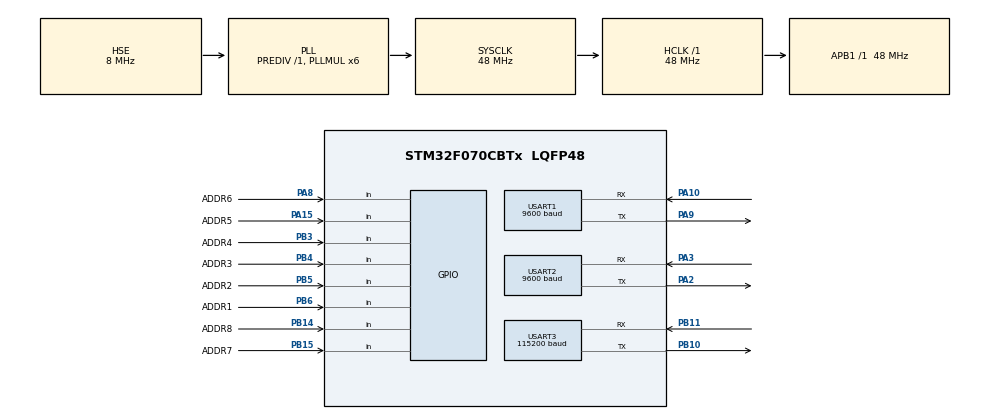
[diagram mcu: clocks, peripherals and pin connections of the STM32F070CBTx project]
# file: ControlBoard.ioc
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IWDG.Prescaler=IWDG_PRESCALER_64
IWDG.Reload=625
Mcu.Family=STM32F0
Mcu.Name=STM32F070CBTx
Mcu.Package=LQFP48
NVIC.USART1_IRQn=true\:0\:0\:false\:false\:true\:true\:true\:true
NVIC.USART2_IRQn=true\:1\:0\:true\:false\:true\:true\:true\:true
NVIC.USART3_4_IRQn=true\:0\:0\:false\:false\:true\:true\:true\:true
PA10.Mode=Asynchronous
PA10.Signal=USART1_RX
PA15.GPIO_Label=ADDR5
PA15.GPIO_Mode=GPIO_MODE_INPUT
PA15.GPIO_PuPd=GPIO_PULLUP
PA15.Signal=GPIO_Input
PA2.Mode=Asynchronous
PA2.Signal=USART2_TX
PA3.Mode=Asynchronous
PA3.Signal=USART2_RX
PA8.GPIO_Label=ADDR6
PA8.GPIO_Mode=GPIO_MODE_INPUT
PA8.GPIO_PuPd=GPIO_PULLUP
PA8.Signal=GPIO_Input
PA9.Mode=Asynchronous
PA9.Signal=USART1_TX
PB10.Mode=Asynchronous
PB10.Signal=USART3_TX
PB11.Mode=Asynchronous
PB11.Signal=USART3_RX
PB14.GPIO_Label=ADDR8
PB14.GPIO_Mode=GPIO_MODE_INPUT
PB14.GPIO_PuPd=GPIO_PULLUP
PB14.Signal=GPIO_Input
PB15.GPIO_Label=ADDR7
PB15.GPIO_Mode=GPIO_MODE_INPUT
PB15.GPIO_PuPd=GPIO_PULLUP
PB15.Signal=GPIO_Input
PB3.GPIO_Label=ADDR4
PB3.GPIO_Mode=GPIO_MODE_INPUT
PB3.GPIO_PuPd=GPIO_PULLUP
PB3.Signal=GPIO_Input
PB4.GPIO_Label=ADDR3
PB4.GPIO_Mode=GPIO_MODE_INPUT
PB4.GPIO_PuPd=GPIO_PULLUP
PB4.Signal=GPIO_Input
PB5.GPIO_Label=ADDR2
PB5.GPIO_Mode=GPIO_MODE_INPUT
PB5.GPIO_PuPd=GPIO_PULLUP
PB5.Signal=GPIO_Input
PB6.GPIO_Label=ADDR1
PB6.GPIO_Mode=GPIO_MODE_INPUT
PB6.GPIO_PuPd=GPIO_PULLUP
PB6.Signal=GPIO_Input
PF0-OSC_IN.Mode=HSE-External-Oscillator
PF0-OSC_IN.Signal=RCC_OSC_IN
PF1-OSC_OUT.Mode=HSE-External-Oscillator
PF1-OSC_OUT.Signal=RCC_OSC_OUT
ProjectManager.HeapSize=0x200
ProjectManager.StackSize=0x400
ProjectManager.TargetToolchain=CMake
RCC.AHBFreq_Value=48000000
RCC.APB1Freq_Value=48000000
RCC.APB1TimFreq_Value=48000000
RCC.HCLKFreq_Value=48000000
RCC.PLLMUL=RCC_PLL_MUL6
RCC.PLLSourceVirtual=RCC_PLLSOURCE_HSE
RCC.SYSCLKFreq_VALUE=48000000
RCC.SYSCLKSource=RCC_SYSCLKSOURCE_PLLCLK
USART1.BaudRate=9600
USART1.VirtualMode-Asynchronous=VM_ASYNC
USART2.BaudRate=9600
USART2.VirtualMode-Asynchronous=VM_ASYNC
USART3.BaudRate=115200
USART3.VirtualMode-Asynchronous=VM_ASYNC
VP_IWDG_VS_IWDG.Mode=IWDG_Activate
board=custom

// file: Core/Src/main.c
/* USER CODE BEGIN Header */
/**
  ******************************************************************************
  * @file           : main.c
  * @brief          : Main program body
  ******************************************************************************
  * @attention
  *
  * Copyright (c) 2026 STMicroelectronics.
  * All rights reserved.
  *
  * This software is licensed under terms that can be found in the LICENSE file
  * in the root directory of this software component.
  * If no LICENSE file comes with this software, it is provided AS-IS.
  *
  ******************************************************************************
  */
/* USER CODE END Header */
#include "main.h"
#include "iwdg.h"
#include "usart.h"
#include "gpio.h"

/* USER CODE BEGIN Includes */
#include "FreeRTOS.h"
#include "controller_maintenance.h"
#include "dwin.h"
#include "global_status.h"
#include "modbus_rtu.h"
#include "modbus_sensor_host.h"
#include "modbus_slave.h"
#include "task.h"

/* USER CODE END Includes */

/* USER CODE BEGIN PV */
/* 任务心跳计数：各工作任务每轮循环递增自己的计数，喂狗任务据此判断任务是否仍在运行。 */
static volatile uint32_t g_slaveTaskHeartbeat;
static volatile uint32_t g_sensorTaskHeartbeat;

/* 任务心跳停滞超过该阈值视为任务挂死，停止喂狗等待 IWDG 复位。 */
#define IWDG_TASK_STALE_TIMEOUT_MS 800U
/* USER CODE END PV */

void SystemClock_Config(void);
/* USER CODE BEGIN PFP */
static void ControllerMaintenanceTask(void *argument);
static void ModbusSensorTask(void *argument);
static void ModbusSlaveTask(void *argument);

/* USER CODE END PFP */

/* USER CODE BEGIN 0 */

static void ControllerMaintenanceTask(void *argument)
{
  /* maintenanceState 体积较大（~350B），且不可重入。放 static 可让 ctrl_maint 任务栈缩小。 */
  static ControllerMaintenanceState_t maintenanceState;
  uint32_t lastSlaveHeartbeat = 0U;
  uint32_t lastSensorHeartbeat = 0U;
  TickType_t lastSlaveProgressTick;
  TickType_t lastSensorProgressTick;

  (void)argument;
  ControllerMaintenance_Init(&maintenanceState);
  lastSlaveProgressTick = xTaskGetTickCount();
  lastSensorProgressTick = lastSlaveProgressTick;

  for (;;)
  {
    ControllerMaintenance_Process(&maintenanceState);

    /* 喂狗策略：只有当本任务、Modbus 从机任务、传感器任务三方心跳都健康时才喂狗。
     * 启动扫描期间传感器任务可能数秒不返回，此期间跳过其心跳检查。 */
    {
      TickType_t now = xTaskGetTickCount();
      uint32_t slaveHb = g_slaveTaskHeartbeat;
      uint32_t sensorHb = g_sensorTaskHeartbeat;
      uint8_t slaveAlive;
      uint8_t sensorAlive;

      if (slaveHb != lastSlaveHeartbeat)
      {
        lastSlaveHeartbeat = slaveHb;
        lastSlaveProgressTick = now;
      }
      if (sensorHb != lastSensorHeartbeat)
      {
        lastSensorHeartbeat = sensorHb;
        lastSensorProgressTick = now;
      }

      slaveAlive =
        ((now - lastSlaveProgressTick) <= pdMS_TO_TICKS(IWDG_TASK_STALE_TIMEOUT_MS)) ? 1U : 0U;
      sensorAlive = (g_controllerInfo.startupScanDone == 0U)
                      ? 1U
                      : (((now - lastSensorProgressTick) <= pdMS_TO_TICKS(IWDG_TASK_STALE_TIMEOUT_MS))
                           ? 1U
                           : 0U);

      if ((slaveAlive != 0U) && (sensorAlive != 0U))
      {
        (void)HAL_IWDG_Refresh(&hiwdg);
      }
    }

    vTaskDelay(pdMS_TO_TICKS(CONTROLLER_MAINTENANCE_TASK_INTERVAL_MS));
  }
}

static void ModbusSensorTask(void *argument)
{
  uint8_t nextFullScanSensorIndex = 0U;
  uint8_t nextOnlineSensorIndex = 0U;
  uint8_t startupRound;

  (void)argument;

  /* 下行轮询任务：ControlBoard 通过 USART1 依次读取 1~64 号传感器。 */
  for (startupRound = 0U; startupRound < MODBUS_SENSOR_STARTUP_SCAN_ROUNDS; ++startupRound)
  {
    while ((ModbusSensorHost_Poll(MODBUS_SENSOR_POLL_ALL,
                                  &nextFullScanSensorIndex,
                                  MODBUS_SENSOR_COUNT,
                                  0U,
                                  MODBUS_SENSOR_DISCOVERY_RESPONSE_TIMEOUT_MS) &
            MODBUS_SENSOR_POLL_RESULT_ROUND_DONE) == 0U)
    {
    }
  }
  if (g_controllerInfo.errorResponseCount > GLOBAL_STATUS_DUPLICATE_ADDR_ERROR_THRESHOLD)
  {
    g_controllerInfo.hasDuplicateAddressSensor = 1U;
  }
  g_controllerInfo.startupScanDone = 1U;
  nextFullScanSensorIndex = 0U;

  for (;;)
  {
    (void)ModbusSensorHost_Poll(MODBUS_SENSOR_POLL_ALL,
                                &nextFullScanSensorIndex,
                                MODBUS_SENSOR_FULL_SCAN_BATCH_COUNT,
                                MODBUS_SENSOR_NORMAL_REQUEST_INTERVAL_MS,
                                MODBUS_SENSOR_DISCOVERY_RESPONSE_TIMEOUT_MS);
    (void)ModbusSensorHost_Poll(MODBUS_SENSOR_POLL_ONLINE,
                                &nextOnlineSensorIndex,
                                1U,
                                MODBUS_SENSOR_ONLINE_REQUEST_INTERVAL_MS,
                                MODBUS_SENSOR_ONLINE_RESPONSE_TIMEOUT_MS);
    g_sensorTaskHeartbeat++;
    vTaskDelay(pdMS_TO_TICKS(MODBUS_SENSOR_POLL_CYCLE_INTERVAL_MS));
  }
}

static void ModbusSlaveTask(void *argument)
{
  uint8_t request[MODBUS_SLAVE_MAX_ADU_SIZE];
  uint8_t response[MODBUS_SLAVE_MAX_ADU_SIZE];
  uint16_t requestLen;
  uint16_t responseLen;

  (void)argument;

  /* 上行从机任务：ControlBoard 通过 USART2 响应 HostBoard 的 Modbus 请求。 */
  for (;;)
  {
    if (ModbusRtu_PollFrameFrom(&huart2, request, sizeof(request), &requestLen) != 0U)
    {
      responseLen = ModbusSlave_HandleRequest(request, requestLen, response, sizeof(response));
      if (responseLen > 0U)
      {
        (void)ModbusRtu_SendTo(&huart2, response, responseLen, 100U);
      }
    }

    g_slaveTaskHeartbeat++;
    vTaskDelay(pdMS_TO_TICKS(1U));
  }
}

/* USER CODE END 0 */

int main(void)
{

  /* MCU Configuration--------------------------------------------------------*/

  /* Reset of all peripherals, Initializes the Flash interface and the Systick. */
  HAL_Init();

  /* Configure the system clock */
  SystemClock_Config();

  /* Initialize all configured peripherals */
  MX_GPIO_Init();
  MX_USART2_UART_Init();
  MX_USART1_UART_Init();
  MX_USART3_UART_Init();
  MX_IWDG_Init();
  /* USER CODE BEGIN 2 */
  /* USART2 是上行 Modbus 从机端口，USART1 是下行传感器 Modbus 主机端口。 */
  ModbusSlave_InitData();
  if (ModbusRtu_InitPort(&huart2) == 0U)
  {
    Error_Handler();
  }
  if (ModbusSensorHost_Init(&huart1) == 0U)
  {
    Error_Handler();
  }
  if (DwinSend_Init() == 0U)
  {
    Error_Handler();
  }
  if (xTaskCreate(ModbusSlaveTask, "mb_slave", 256U, NULL, tskIDLE_PRIORITY + 1U, NULL) != pdPASS)
  {
    Error_Handler();
  }
  if (xTaskCreate(ModbusSensorTask, "mb_sensors", 320U, NULL, tskIDLE_PRIORITY + 1U, NULL) != pdPASS)
  {
    Error_Handler();
  }
  if (xTaskCreate(ControllerMaintenanceTask, "ctrl_maint", 256U, NULL, tskIDLE_PRIORITY + 1U, NULL) != pdPASS)
  {
    Error_Handler();
  }
  if (xTaskCreate(DwinSendTask, "dwin_tx", 192U, NULL, tskIDLE_PRIORITY + 1U, NULL) != pdPASS)
  {
    Error_Handler();
  }
  vTaskStartScheduler();

  /* USER CODE END 2 */

  /* Infinite loop */
  while (1)
  {

  }
}

void SystemClock_Config(void)
{
  RCC_OscInitTypeDef RCC_OscInitStruct = {0};
  RCC_ClkInitTypeDef RCC_ClkInitStruct = {0};
  RCC_PeriphCLKInitTypeDef PeriphClkInit = {0};

  /** Initializes the RCC Oscillators according to the specified parameters
  * in the RCC_OscInitTypeDef structure.
  */
  RCC_OscInitStruct.OscillatorType = RCC_OSCILLATORTYPE_LSI|RCC_OSCILLATORTYPE_HSE;
  RCC_OscInitStruct.HSEState = RCC_HSE_ON;
  RCC_OscInitStruct.LSIState = RCC_LSI_ON;
  RCC_OscInitStruct.PLL.PLLState = RCC_PLL_ON;
  RCC_OscInitStruct.PLL.PLLSource = RCC_PLLSOURCE_HSE;
  RCC_OscInitStruct.PLL.PLLMUL = RCC_PLL_MUL6;
  RCC_OscInitStruct.PLL.PREDIV = RCC_PREDIV_DIV1;
  if (HAL_RCC_OscConfig(&RCC_OscInitStruct) != HAL_OK)
  {
    Error_Handler();
  }

  /** Initializes the CPU, AHB and APB buses clocks
  */
  RCC_ClkInitStruct.ClockType = RCC_CLOCKTYPE_HCLK|RCC_CLOCKTYPE_SYSCLK
                              |RCC_CLOCKTYPE_PCLK1;
  RCC_ClkInitStruct.SYSCLKSource = RCC_SYSCLKSOURCE_PLLCLK;
  RCC_ClkInitStruct.AHBCLKDivider = RCC_SYSCLK_DIV1;
  RCC_ClkInitStruct.APB1CLKDivider = RCC_HCLK_DIV1;

  if (HAL_RCC_ClockConfig(&RCC_ClkInitStruct, FLASH_LATENCY_1) != HAL_OK)
  {
    Error_Handler();
  }
  PeriphClkInit.PeriphClockSelection = RCC_PERIPHCLK_USART1;
  PeriphClkInit.Usart1ClockSelection = RCC_USART1CLKSOURCE_PCLK1;
  if (HAL_RCCEx_PeriphCLKConfig(&PeriphClkInit) != HAL_OK)
  {
    Error_Handler();
  }
}

void Error_Handler(void)
{
  __disable_irq();
  while (1)
  {
  }
}
